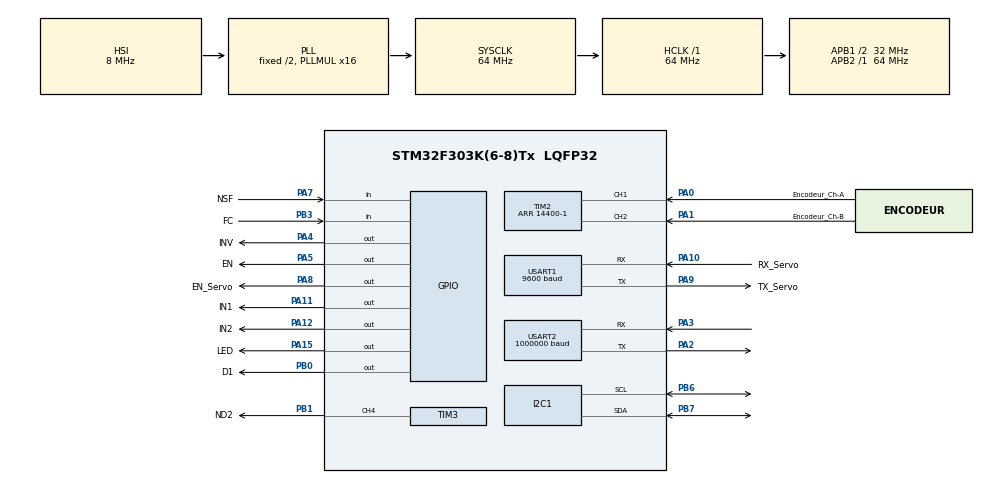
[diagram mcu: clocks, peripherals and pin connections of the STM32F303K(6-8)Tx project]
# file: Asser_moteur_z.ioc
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Dma.Request0=USART2_RX
Dma.USART2_RX.0.Direction=DMA_PERIPH_TO_MEMORY
Dma.USART2_RX.0.Instance=DMA1_Channel6
Dma.USART2_RX.0.MemDataAlignment=DMA_MDATAALIGN_BYTE
Dma.USART2_RX.0.MemInc=DMA_MINC_ENABLE
Dma.USART2_RX.0.Mode=DMA_CIRCULAR
Dma.USART2_RX.0.PeriphDataAlignment=DMA_PDATAALIGN_BYTE
Dma.USART2_RX.0.PeriphInc=DMA_PINC_DISABLE
Dma.USART2_RX.0.Priority=DMA_PRIORITY_LOW
I2C1.Timing=0x2000090E
Mcu.Family=STM32F3
Mcu.Name=STM32F303K(6-8)Tx
Mcu.Package=LQFP32
NVIC.DMA1_Channel6_IRQn=true\:0\:0\:false\:false\:true\:false
NVIC.PriorityGroup=NVIC_PRIORITYGROUP_4
NVIC.TIM1_BRK_TIM15_IRQn=true\:0\:0\:false\:false\:true\:true
NVIC.USART2_IRQn=true\:0\:0\:false\:false\:true\:true
PA0.GPIO_Label=Encodeur_Ch-A
PA0.Signal=S_TIM2_CH1_ETR
PA1.GPIO_Label=Encodeur_Ch-B
PA1.Signal=S_TIM2_CH2
PA10.GPIO_Label=RX_Servo
PA10.Mode=Asynchronous
PA10.Signal=USART1_RX
PA11.GPIO_Label=IN1
PA11.Signal=GPIO_Output
PA12.GPIO_Label=IN2
PA12.Signal=GPIO_Output
PA15.GPIO_Label=LED
PA15.Signal=GPIO_Output
PA2.Mode=Asynchronous
PA2.Signal=USART2_TX
PA3.Mode=Asynchronous
PA3.Signal=USART2_RX
PA4.GPIO_Label=INV
PA4.Signal=GPIO_Output
PA5.GPIO_Label=EN
PA5.Signal=GPIO_Output
PA7.GPIO_Label=NSF
PA7.Signal=GPIO_Input
PA8.GPIO_Label=EN_Servo
PA8.Signal=GPIO_Output
PA9.GPIO_Label=TX_Servo
PA9.Mode=Asynchronous
PA9.Signal=USART1_TX
PB0.GPIO_Label=D1
PB0.Signal=GPIO_Output
PB1.GPIO_Label=ND2
PB1.Signal=S_TIM3_CH4
PB3.GPIO_Label=FC
PB3.GPIO_PuPd=GPIO_PULLDOWN
PB3.Signal=GPIO_Input
PB6.Mode=I2C
PB6.Signal=I2C1_SCL
PB7.Mode=I2C
PB7.Signal=I2C1_SDA
ProjectManager.HeapSize=0x200
ProjectManager.StackSize=0x400
ProjectManager.TargetToolchain=Makefile
RCC.AHBFreq_Value=64000000
RCC.APB1CLKDivider=RCC_HCLK_DIV2
RCC.APB1Freq_Value=32000000
RCC.APB1TimFreq_Value=64000000
RCC.APB2Freq_Value=64000000
RCC.APB2TimFreq_Value=64000000
RCC.CortexFreq_Value=64000000
RCC.HCLKFreq_Value=64000000
RCC.HSE_VALUE=8000000
RCC.HSI_VALUE=8000000
RCC.PLLMUL=RCC_PLL_MUL16
RCC.SYSCLKFreq_VALUE=64000000
RCC.SYSCLKSourceVirtual=RCC_SYSCLKSOURCE_PLLCLK
SH.S_TIM2_CH1_ETR.0=TIM2_CH1,Encoder_Interface
SH.S_TIM2_CH2.0=TIM2_CH2,Encoder_Interface
SH.S_TIM3_CH4.0=TIM3_CH4,PWM Generation4 CH4
TIM15.Period=250-1
TIM15.Prescaler=250-1
TIM2.EncoderMode=TIM_ENCODERMODE_TI12
TIM2.Period=14400-1
TIM3.Channel-PWM\ Generation4\ CH4=TIM_CHANNEL_4
TIM3.Period=255-1
TIM3.Prescaler=350-1
USART1.BaudRate=9600
USART1.VirtualMode-Asynchronous=VM_ASYNC
USART1.WordLength=WORDLENGTH_8B
USART2.BaudRate=1000000
USART2.VirtualMode-Asynchronous=VM_ASYNC
USART2.WordLength=WORDLENGTH_8B
VP_TIM15_VS_ClockSourceINT.Mode=Internal
VP_TIM3_VS_ClockSourceINT.Mode=Internal
VP_WWDG_VS_WWDG.Mode=WWDG_Activate
WWDG.Counter=127
WWDG.EWIMode=WWDG_EWI_ENABLE
WWDG.Prescaler=WWDG_PRESCALER_8
WWDG.Window=120
board=Asser_moteur_z

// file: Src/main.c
/**
  ******************************************************************************
  * @file           : main.c
  * @brief          : Main program body
  ******************************************************************************
  ** This notice applies to any and all portions of this file
  * that are not between comment pairs USER CODE BEGIN and
  * USER CODE END. Other portions of this file, whether
  * inserted by the user or by software development tools
  * are owned by their respective copyright owners.
  *
  * COPYRIGHT(c) 2018 STMicroelectronics
  *
  * Redistribution and use in source and binary forms, with or without modification,
  * are permitted provided that the following conditions are met:
  *   1. Redistributions of source code must retain the above copyright notice,
  *      this list of conditions and the following disclaimer.
  *   2. Redistributions in binary form must reproduce the above copyright notice,
  *      this list of conditions and the following disclaimer in the documentation
  *      and/or other materials provided with the distribution.
  *   3. Neither the name of STMicroelectronics nor the names of its contributors
  *      may be used to endorse or promote products derived from this software
  *      without specific prior written permission.
  *
  * THIS SOFTWARE IS PROVIDED BY THE COPYRIGHT HOLDERS AND CONTRIBUTORS "AS IS"
  * AND ANY EXPRESS OR IMPLIED WARRANTIES, INCLUDING, BUT NOT LIMITED TO, THE
  * IMPLIED WARRANTIES OF MERCHANTABILITY AND FITNESS FOR A PARTICULAR PURPOSE ARE
  * DISCLAIMED. IN NO EVENT SHALL THE COPYRIGHT HOLDER OR CONTRIBUTORS BE LIABLE
  * FOR ANY DIRECT, INDIRECT, INCIDENTAL, SPECIAL, EXEMPLARY, OR CONSEQUENTIAL
  * DAMAGES (INCLUDING, BUT NOT LIMITED TO, PROCUREMENT OF SUBSTITUTE GOODS OR
  * SERVICES; LOSS OF USE, DATA, OR PROFITS; OR BUSINESS INTERRUPTION) HOWEVER
  * CAUSED AND ON ANY THEORY OF LIABILITY, WHETHER IN CONTRACT, STRICT LIABILITY,
  * OR TORT (INCLUDING NEGLIGENCE OR OTHERWISE) ARISING IN ANY WAY OUT OF THE USE
  * OF THIS SOFTWARE, EVEN IF ADVISED OF THE POSSIBILITY OF SUCH DAMAGE.
  *
  ******************************************************************************
  */
#include "main.h"
#include "stm32f3xx_hal.h"
#include "dma.h"
#include "i2c.h"
#include "tim.h"
#include "usart.h"
#include "wwdg.h"
#include "gpio.h"

/* USER CODE BEGIN Includes */
#include "robotronik_protocol.h"
#include "robotronik_protocol_stm32f3.h"
#include "remote_call.h"
#include "ax_12a_hal.h"
#include "Robotronik_corp_pid.h"
#include "encoder.h"

#include "Z_axis.h"
#include "server.h"
#include "fsm_master.h"
#include "fsm_start.h"
/* USER CODE END Includes */

/* USER CODE BEGIN PV */
/* Private variables ---------------------------------------------------------*/

/* USER CODE END PV */

void SystemClock_Config(void);

/* USER CODE BEGIN PFP */
/* Private function prototypes -----------------------------------------------*/

/* USER CODE END PFP */

/* USER CODE BEGIN 0 */
void HAL_WWDG_EarlyWakeupCallback(WWDG_HandleTypeDef* p_hwwdg){
  if(p_hwwdg == &hwwdg){

  }
}
/* USER CODE END 0 */

int main(void)
{

  /* MCU Configuration----------------------------------------------------------*/

  /* Reset of all peripherals, Initializes the Flash interface and the Systick. */
  HAL_Init();

  /* Configure the system clock */
  SystemClock_Config();

  /* Initialize all configured peripherals */
  MX_GPIO_Init();
  MX_DMA_Init();
  MX_I2C1_Init();
  MX_TIM2_Init();
  MX_TIM3_Init();
  MX_USART1_UART_Init();
  MX_USART2_UART_Init();
  MX_TIM15_Init();
  //MX_WWDG_Init();
  /* USER CODE BEGIN 2 */
  Z_Init_AX();
  HAL_Delay(2000);
  Z_Enable_AX(true);
  HAL_Delay(2000);
  AX_Set_Goal_Position(&servo_ar, AX_ARM_START, AX_NOW);

  while(1);

  //==================================================
  //                    UART
  //==================================================
  //RP_Init_Interface(&Z_interface, USART2, RP_UART_Transmit, HAL_GetTick);
  //RP_INIT_UART_DMA(DMA1, LL_DMA_CHANNEL_6, USART2, Z_interface);

  //==================================================
  //              Remote Call Server
  //==================================================
  //RC_Server_Init(&Z_server,&Z_interface);

  RC_Server_Add_Function(&Z_server, Z_RESET, reset, "", "", RC_IMMEDIATE);
  RC_Server_Add_Function(&Z_server, Z_SET_ASSER, set_asser, "fffif", "", RC_IMMEDIATE);

  RC_Server_Add_Function(&Z_server, Z_GET_STATE, get_state, "", "b", RC_IMMEDIATE);

  RC_Server_Add_Function(&Z_server, Z_BALEC, balec, "", "", RC_IMMEDIATE);
  RC_Server_Add_Function(&Z_server, Z_PUNCH_BEE, punch_bee, "", "", RC_IMMEDIATE);
  RC_Server_Add_Function(&Z_server, Z_ARM_IN, arm_in, "", "", RC_IMMEDIATE);
  RC_Server_Add_Function(&Z_server, Z_ARM_OUT, arm_out, "", "", RC_IMMEDIATE);
  //RC_Server_Add_Function(&Z_server, Z_STACK_FIRST, stack_first, "", "b", RC_IMMEDIATE);
  RC_Server_Add_Function(&Z_server, Z_STACK, stack, "", "", RC_IMMEDIATE);
  RC_Server_Add_Function(&Z_server, Z_STACK_LAST, stack_last, "", "",RC_IMMEDIATE);
  RC_Server_Add_Function(&Z_server, Z_UNSTACK,unstack, "", "", RC_IMMEDIATE);
  RC_Server_Add_Function(&Z_server, Z_PLACE,place, "", "", RC_IMMEDIATE);

  //==================================================
  //                  AX-12A
  //==================================================
  HAL_Delay(500);
  Z_Init_AX();
  HAL_Delay(1000);
  Z_Open();

  //==================================================
  //                  Default PID
  //==================================================
  pid_z.Kp=0.004*0.6;//Ziegler-Nichols
  pid_z.Ki=0.005/2;
  pid_z.Kd=0.00001;
  pid_z.Te=0.01;
  pid_z.position_tolerance=500;
  pid_z.speed_tolerance=1000;
  pid_init(&pid_z);

  //==================================================
  //              Motor & Encoder
  //==================================================
  AX_Set_Goal_Position(&servo_g, AX_LEFT_CLOSE, AX_NOW);
  AX_Set_Goal_Position(&servo_d, AX_RIGHT_CLOSE, AX_NOW);
  MOTOR_INIT;
  MOTOR_FC;
  init_encoder(&encoder, &htim2, &htim15);
  start_encoder(&encoder);

  //==================================================
  //                    FSM
  //==================================================
  FSM_Start fsm_start;
  fsm = (FSM_Instance*volatile) &fsm_start;
  fsm->run = FSM_Start_Init;

  /* USER CODE END 2 */

  /* Infinite loop */
  /* USER CODE BEGIN WHILE */

  //https://www.pololu.com/product/1212

  /*while(1)
  {
    //AX_Set_Goal_Position(&servo_g, AX_LEFT_OPEN, AX_NOW);
    //AX_Set_Goal_Position(&servo_d, AX_RIGHT_OPEN, AX_NOW);
    AX_Set_Goal_Position(&servo_ar, AX_ARM_START, AX_NOW);
    HAL_Delay(1000);
    //AX_Set_Goal_Position(&servo_g, AX_LEFT_CLOSE, AX_NOW);
    //AX_Set_Goal_Position(&servo_d, AX_RIGHT_CLOSE, AX_NOW);
    AX_Set_Goal_Position(&servo_ar, AX_ARM_DEPLOY, AX_NOW);
    HAL_Delay(1000);

    AX_Set_Goal_Position(&servo_ar, AX_ARM_END, AX_NOW);
    HAL_Delay(1000);
  }*/

  imp_goal=0;//warning no negative values
  //fsm_stack.last = 0;
  //fsm->run=FSM_Stack_Init;
  //stack(&Z_server);
  while (1)
  {
    //Watchdog refresh
  //  HAL_WWDG_Refresh(&hwwdg);

    //Asser
    imp_goal=30000;
    float voltage = pid(&pid_z, -imp_goal + encoder.steps);
    if(HAL_GPIO_ReadPin(FC_GPIO_Port,FC_Pin)==1)//fin de course percute=probleme
    {
        voltage=0;
        pid_z.integral = 0;
    }
    MOTOR_VOLTAGE(voltage);

    //FSM
    fsm->run(fsm);

    //Delay
    HAL_Delay(Z_DELAY);
  /* USER CODE END WHILE */

  }

}

void SystemClock_Config(void)
{

  RCC_OscInitTypeDef RCC_OscInitStruct;
  RCC_ClkInitTypeDef RCC_ClkInitStruct;
  RCC_PeriphCLKInitTypeDef PeriphClkInit;

    /**Initializes the CPU, AHB and APB busses clocks
    */
  RCC_OscInitStruct.OscillatorType = RCC_OSCILLATORTYPE_HSI;
  RCC_OscInitStruct.HSIState = RCC_HSI_ON;
  RCC_OscInitStruct.HSICalibrationValue = 16;
  RCC_OscInitStruct.PLL.PLLState = RCC_PLL_ON;
  RCC_OscInitStruct.PLL.PLLSource = RCC_PLLSOURCE_HSI;
  RCC_OscInitStruct.PLL.PLLMUL = RCC_PLL_MUL16;
  if (HAL_RCC_OscConfig(&RCC_OscInitStruct) != HAL_OK)
  {
    _Error_Handler(__FILE__, __LINE__);
  }

    /**Initializes the CPU, AHB and APB busses clocks
    */
  RCC_ClkInitStruct.ClockType = RCC_CLOCKTYPE_HCLK|RCC_CLOCKTYPE_SYSCLK
                              |RCC_CLOCKTYPE_PCLK1|RCC_CLOCKTYPE_PCLK2;
  RCC_ClkInitStruct.SYSCLKSource = RCC_SYSCLKSOURCE_PLLCLK;
  RCC_ClkInitStruct.AHBCLKDivider = RCC_SYSCLK_DIV1;
  RCC_ClkInitStruct.APB1CLKDivider = RCC_HCLK_DIV2;
  RCC_ClkInitStruct.APB2CLKDivider = RCC_HCLK_DIV1;

  if (HAL_RCC_ClockConfig(&RCC_ClkInitStruct, FLASH_LATENCY_2) != HAL_OK)
  {
    _Error_Handler(__FILE__, __LINE__);
  }

  PeriphClkInit.PeriphClockSelection = RCC_PERIPHCLK_USART1|RCC_PERIPHCLK_I2C1;
  PeriphClkInit.Usart1ClockSelection = RCC_USART1CLKSOURCE_PCLK1;
  PeriphClkInit.I2c1ClockSelection = RCC_I2C1CLKSOURCE_HSI;
  if (HAL_RCCEx_PeriphCLKConfig(&PeriphClkInit) != HAL_OK)
  {
    _Error_Handler(__FILE__, __LINE__);
  }

    /**Configure the Systick interrupt time
    */
  HAL_SYSTICK_Config(HAL_RCC_GetHCLKFreq()/1000);

    /**Configure the Systick
    */
  HAL_SYSTICK_CLKSourceConfig(SYSTICK_CLKSOURCE_HCLK);

  /* SysTick_IRQn interrupt configuration */
  HAL_NVIC_SetPriority(SysTick_IRQn, 0, 0);
}

void _Error_Handler(char *file, int line)
{
  while(1)
  {
  }
}

/************************ (C) COPYRIGHT STMicroelectronics *****END OF FILE****/
